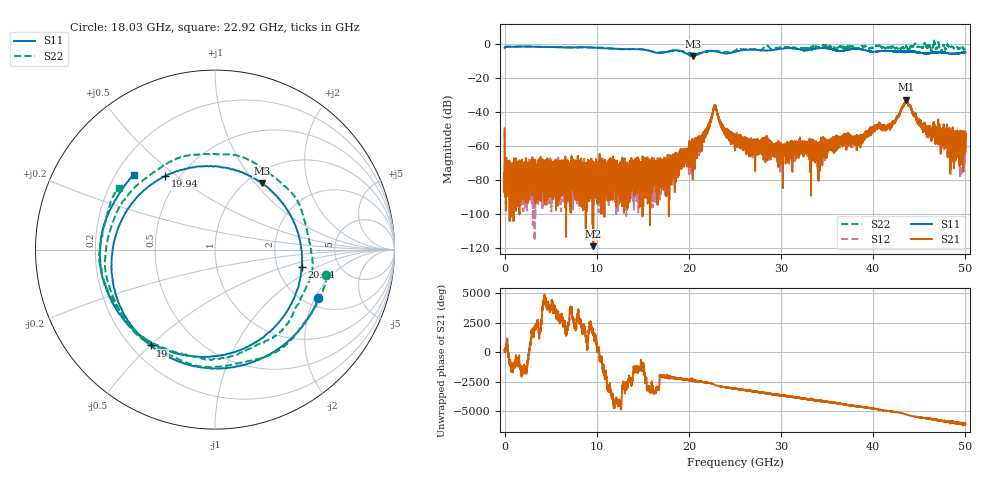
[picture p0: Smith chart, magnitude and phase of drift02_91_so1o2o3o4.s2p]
!Created with skrf (http://scikit-rf.org).
# Hz S RI R 50.0
!freq ReS11 ImS11 ReS21 ImS21 ReS12 ImS12 ReS22 ImS22
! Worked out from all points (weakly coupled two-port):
!   10001 points, 300 kHz to 50 GHz, reference 50 ohm
!   highest |S21| = -32.67 dB at 43.59 GHz (marker M1); lowest = -119.2 dB at 9.62 GHz (marker M2)
!   lowest |S11| = -6.9 dB at 20.44 GHz (marker M3), VSWR 2.64, Z = 58.3 + j54 ohm
!   |S11| at or under -10 dB: nowhere
!   |S22| runs from -5.7 to 2.2 dB; largest |S21 - S12| = 0.0039
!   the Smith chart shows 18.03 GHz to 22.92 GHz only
!   S11 on the Smith chart (normalised r, x): 18.03 GHz: 2.37, -2.14; 19 GHz: 0.27, -0.50; 19.94 GHz: 0.42, +0.45; 20.94 GHz: 2.74, -0.70; 22.92 GHz: 0.27, +0.36
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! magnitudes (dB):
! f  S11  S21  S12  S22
! 300 kHz  -2.1  -49.6  -51.5  -2.1
! 255.3 MHz  -1.4  -72.8  -81.2  -1.4
! 8.335 GHz  -1.7  -77.6  -73.8  -1.9
! 9.62 GHz  -2.0  -119.2  -71.3  -2.0
! 16.67 GHz  -5.2  -78.3  -75.9  -4.7
! 18.03 GHz  -3.9  -68.6  -71.7  -3.9
! 19 GHz  -3.8  -67.8  -72.7  -3.9
! 19.94 GHz  -6.1  -64.9  -65.0  -5.2
! 20.44 GHz  -6.9  -57.6  -60.9  -5.4
! 20.94 GHz  -6.1  -60.4  -59.6  -5.6
! 22.92 GHz  -4.2  -37.1  -37.1  -3.9
! 23.75 GHz  -5.3  -49.4  -50.4  -4.6
! 25 GHz  -4.5  -56.8  -55.1  -3.9
! 29.8 GHz  -2.8  -61.1  -62.5  -1.9
! 33.34 GHz  -3.0  -66.9  -60.4  -1.6
! 38.28 GHz  -2.8  -54.6  -55.3  -2.1
! 40.44 GHz  -4.2  -49.8  -49.6  -1.0
! 41.67 GHz  -3.9  -48.2  -47.8  -2.0
! 43.59 GHz  -4.6  -32.7  -33.4  -1.5
! 45.64 GHz  -5.4  -47.6  -48.8  0.0
! 48.57 GHz  -5.6  -54.0  -62.6  -1.5
! 50 GHz  -4.8  -55.8  -59.3  -2.7
